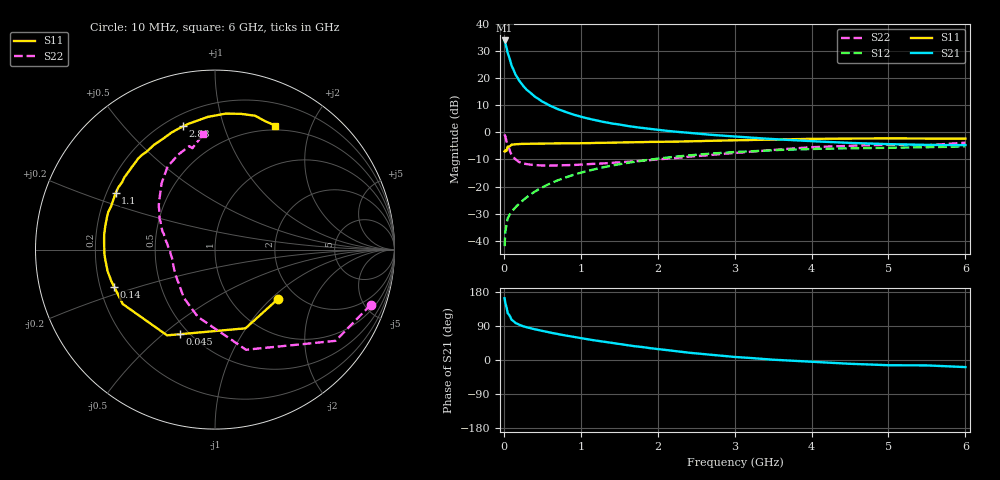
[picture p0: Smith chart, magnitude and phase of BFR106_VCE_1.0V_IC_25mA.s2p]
! Infineon Technologies  Discrete & RF Semiconductors
! BFR106
! VCE =  1.0 V,  IC =  25 mA
! Common Emitter S-Parameters:  Nov 2015
# GHz  S  MA  R  50
!  f  S11  S21  S12  S22
! GHz  MAG  ANG  MAG  ANG  MAG  ANG  MAG  ANG
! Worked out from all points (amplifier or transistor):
!   210 points, 10 MHz to 6 GHz, reference 50 ohm
!   highest |S21| = 34.0 dB at 10 MHz (marker M1)
!   |S21| within 3 dB of that: start of sweep to 36.87 MHz
!   unconditionally stable (mu >= 1): 298.1 MHz to 3.484 GHz; 3.524 GHz to end of sweep
!   at 185 MHz: K = 0.85, MSG = 23.3 dB, |S12| = -26.7 dB
!   at 1.52 GHz: K = 1.07, MAG = 5.6 dB, |S12| = -11.7 dB
!   at 6 GHz: K = 1.02, MAG = -0.7 dB, |S12| = -5.1 dB
!   S11 on the Smith chart (normalised r, x): 10 MHz: 1.60, -1.11; 45 MHz: 0.45, -0.57; 140 MHz: 0.26, -0.17; 1.1 GHz: 0.24, +0.25; 2.88 GHz: 0.27, +0.74; 6 GHz: 0.45, +1.50
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0.01  0.4455 -38.4  50.03 163.0  0.0079 78.1  0.9214 -19.4
0.02  0.4704 -68.8  44.98 149.3  0.0147 67.6  0.8425 -37.1
0.045  0.5097 -112.4  31.58 129.4  0.024 53.5  0.6064 -65.0
0.05  0.5473 -119.2  29.59 123.5  0.0259 51.9  0.5842 -72.8
0.1  0.5964 -149.4  17.22 106.1  0.034 49.3  0.3866 -104.3
0.14  0.5995 -159.7  12.9 100.0  0.0396 51.5  0.3302 -118.5
0.15  0.6032 -162.2  11.86 97.8  0.041 51.9  0.32 -122.8
0.2  0.6104 -168.7  9.042 92.8  0.0483 55.6  0.2826 -134.0
0.24  0.6122 -172.9  7.602 89.8  0.0543 57.6  0.269 -141.4
0.3  0.6166 -177.5  6.078 86.1  0.0639 60.6  0.2591 -149.1
0.4  0.6195 176.5  4.612 81.1  0.08 62.9  0.2494 -158.3
0.5  0.6232 172.1  3.711 76.7  0.0965 64.0  0.2445 -164.3
0.6  0.6253 167.9  3.118 72.4  0.1133 64.0  0.2436 -168.2
0.8  0.6307 160.7  2.387 64.7  0.1466 62.8  0.2492 -175.4
1.02  0.6322 153.0  1.919 57.1  0.1832 60.5  0.255 179.4
1.1  0.6368 150.4  1.795 54.3  0.1959 59.4  0.2598 177.6
2.02  0.6659 124.7  1.109 28.5  0.33 44.5  0.3192 158.5
2.88  0.7092 104.5  0.864 10.4  0.4232 30.0  0.4045 140.5
3.1  0.7193 100.3  0.822 6.8  0.4408 26.4  0.4268 136.1
4.1  0.7615 84.1  0.678 -5.9  0.4974 11.6  0.5386 117.9
5.1  0.776 72.4  0.603 -13.9  0.5215 0.1  0.5911 103.7
6  0.7683 64.1  0.582 -18.7  0.5529 -8.6  0.6461 95.7
